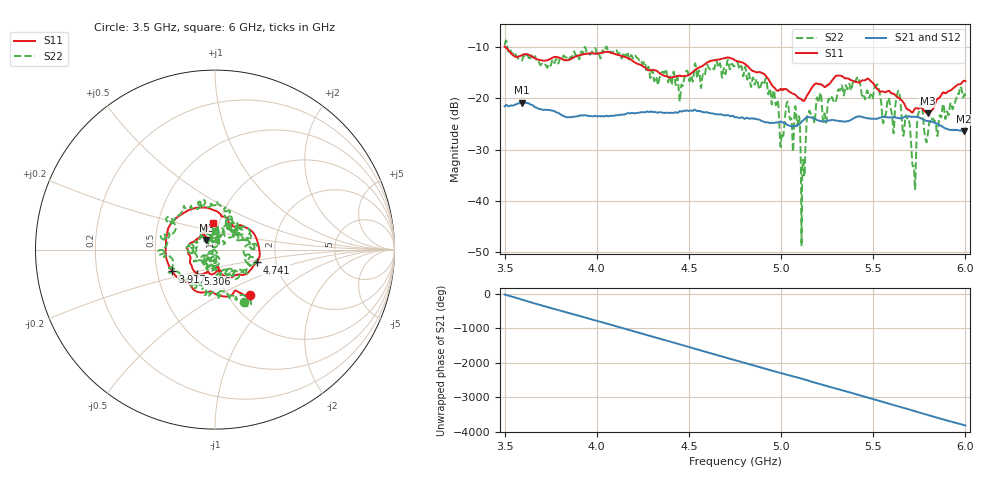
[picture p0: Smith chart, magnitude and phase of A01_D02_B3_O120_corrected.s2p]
! Created with skrf 1.9.0 (http://scikit-rf.org).
# Hz S RI R 50.0
!freq ReS11 ImS11 ReS21 ImS21 ReS12 ImS12 ReS22 ImS22
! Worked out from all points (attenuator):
!   1601 points, 3.5 GHz to 6 GHz, reference 50 ohm
!   highest |S21| = -20.81 dB at 3.592 GHz (marker M1); lowest = -26.5 dB at 5.992 GHz (marker M2)
!   lowest |S11| = -22.9 dB at 5.795 GHz (marker M3), VSWR 1.15, Z = 45.2 + j4.84 ohm
!   |S11| at or under -10 dB: 3.505 GHz to end of sweep
!   |S22| runs from -48.9 to -8.6 dB; largest |S21 - S12| = 0.0011
!   S11 on the Smith chart (normalised r, x): 3.5 GHz: 1.27, -0.72; 3.917 GHz: 0.60, -0.16; 4.741 GHz: 1.58, -0.24; 5.306 GHz: 0.79, -0.22; 6 GHz: 0.93, +0.28
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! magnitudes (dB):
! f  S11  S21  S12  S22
! 3.5 GHz  -9.8  -21.5  -21.5  -9.6
! 3.592 GHz  -11.6  -20.8  -20.8  -12.6
! 3.917 GHz  -11.5  -23.3  -23.3  -10.8
! 4.334 GHz  -14.9  -22.8  -22.7  -17.2
! 4.741 GHz  -12.3  -23.4  -23.4  -13.6
! 4.75 GHz  -12.5  -23.7  -23.6  -13.6
! 4.914 GHz  -15.4  -24.7  -24.6  -16.3
! 4.973 GHz  -18.3  -24.7  -24.6  -21.2
! 5.003 GHz  -18.2  -24.6  -24.6  -27.4
! 5.031 GHz  -18.3  -25.1  -25.0  -20.8
! 5.086 GHz  -19.6  -25.4  -25.3  -25.0
! 5.119 GHz  -20.5  -24.4  -24.2  -32.0
! 5.145 GHz  -19.2  -23.7  -23.6  -23.2
! 5.167 GHz  -17.9  -23.8  -23.7  -23.1
! 5.306 GHz  -15.5  -24.4  -24.3  -18.8
! 5.584 GHz  -18.5  -23.7  -23.7  -19.9
! 5.688 GHz  -22.2  -23.5  -23.5  -23.7
! 5.719 GHz  -22.4  -23.6  -23.5  -33.2
! 5.753 GHz  -21.8  -23.8  -23.7  -21.9
! 5.795 GHz  -22.9  -24.4  -24.4  -27.1
! 5.992 GHz  -16.6  -26.5  -26.4  -19.4
! 6 GHz  -16.6  -26.5  -26.4  -19.6
